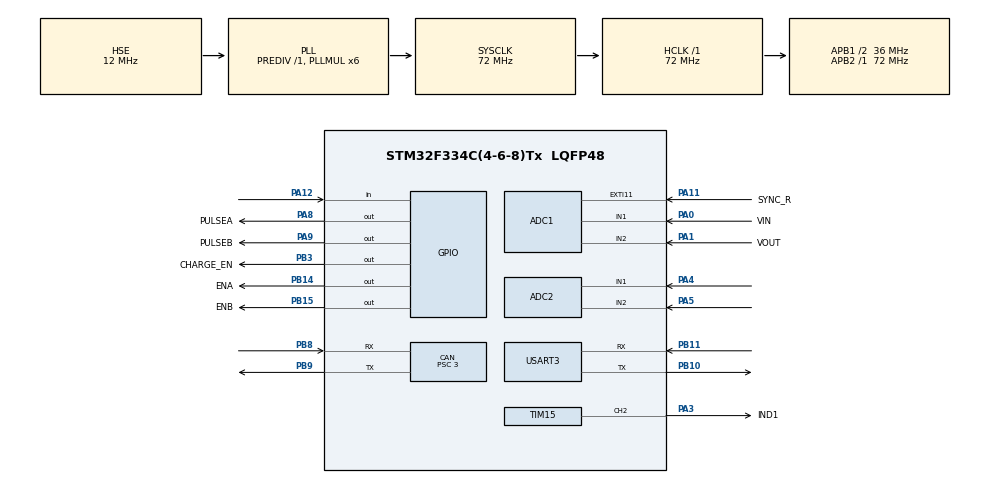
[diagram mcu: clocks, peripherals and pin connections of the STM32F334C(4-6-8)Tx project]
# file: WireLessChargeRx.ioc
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ADC1.AWD1ITMode=ENABLE
ADC1.Channel-7\#ChannelRegularConversion=ADC_CHANNEL_1
ADC1.Channel-8\#ChannelRegularConversion=ADC_CHANNEL_2
ADC1.ClockPrescaler=ADC_CLOCK_ASYNC_DIV1
ADC1.ContinuousConvMode=DISABLE
ADC1.DMAContinuousRequests=ENABLE
ADC1.DiscontinuousConvMode=DISABLE
ADC1.EnableAnalogWatchDog1=true
ADC1.EnableInjectedConversion=DISABLE
ADC1.EnableRegularConversion=ENABLE
ADC1.ExternalTrigConvEdge=ADC_EXTERNALTRIGCONVEDGE_FALLING
ADC1.NbrOfConversion=2
ADC1.NbrOfConversionFlag=1
ADC1.Offset-7\#ChannelRegularConversion=0
ADC1.Offset-8\#ChannelRegularConversion=0
ADC1.OffsetNumber-7\#ChannelRegularConversion=ADC_OFFSET_NONE
ADC1.OffsetNumber-8\#ChannelRegularConversion=ADC_OFFSET_NONE
ADC1.Rank-7\#ChannelRegularConversion=1
ADC1.Rank-8\#ChannelRegularConversion=2
ADC1.SamplingTime-7\#ChannelRegularConversion=ADC_SAMPLETIME_61CYCLES_5
ADC1.SamplingTime-8\#ChannelRegularConversion=ADC_SAMPLETIME_61CYCLES_5
ADC1.SamplingTimeOPAMP-7\#ChannelRegularConversion=ADC_SAMPLETIME_1CYCLE_5
ADC1.SamplingTimeOPAMP-8\#ChannelRegularConversion=ADC_SAMPLETIME_1CYCLE_5
ADC1.SequencerNbRanks=1
ADC1.SubFamily=STM32F334x8
ADC1.master=1
ADC2.AWD1ITMode=ENABLE
ADC2.Channel-0\#ChannelRegularConversion=ADC_CHANNEL_1
ADC2.ContinuousConvMode=DISABLE
ADC2.DMAContinuousRequests=ENABLE
ADC2.EnableAnalogWatchDog1=true
ADC2.ExternalTrigConvEdge=ADC_EXTERNALTRIGCONVEDGE_RISING
ADC2.NbrOfConversionFlag=1
ADC2.Offset-0\#ChannelRegularConversion=0
ADC2.OffsetNumber-0\#ChannelRegularConversion=ADC_OFFSET_NONE
ADC2.Rank-0\#ChannelRegularConversion=1
ADC2.SamplingTime-0\#ChannelRegularConversion=ADC_SAMPLETIME_61CYCLES_5
ADC2.SingleDiff-0\#ChannelRegularConversion=ADC_DIFFERENTIAL_ENDED
ADC2.SubFamily=STM32F334x8
CAN.ABOM=ENABLE
CAN.BS1=CAN_BS1_9TQ
CAN.BS2=CAN_BS2_2TQ
CAN.CalculateBaudRate=999999
CAN.CalculateTimeBit=1000
CAN.CalculateTimeQuantum=83.33333333333334
CAN.NART=ENABLE
CAN.Prescaler=3
CAN.TXFP=ENABLE
Dma.ADC1.0.Direction=DMA_PERIPH_TO_MEMORY
Dma.ADC1.0.Instance=DMA1_Channel1
Dma.ADC1.0.MemDataAlignment=DMA_MDATAALIGN_HALFWORD
Dma.ADC1.0.MemInc=DMA_MINC_ENABLE
Dma.ADC1.0.Mode=DMA_CIRCULAR
Dma.ADC1.0.PeriphDataAlignment=DMA_PDATAALIGN_HALFWORD
Dma.ADC1.0.PeriphInc=DMA_PINC_DISABLE
Dma.ADC1.0.Priority=DMA_PRIORITY_LOW
Dma.ADC2.1.Direction=DMA_PERIPH_TO_MEMORY
Dma.ADC2.1.Instance=DMA1_Channel4
Dma.ADC2.1.MemDataAlignment=DMA_MDATAALIGN_HALFWORD
Dma.ADC2.1.MemInc=DMA_MINC_ENABLE
Dma.ADC2.1.Mode=DMA_CIRCULAR
Dma.ADC2.1.PeriphDataAlignment=DMA_PDATAALIGN_HALFWORD
Dma.ADC2.1.PeriphInc=DMA_PINC_DISABLE
Dma.ADC2.1.Priority=DMA_PRIORITY_LOW
Dma.Request0=ADC1
Dma.Request1=ADC2
Dma.Request2=USART3_TX
Dma.Request3=USART3_RX
Dma.USART3_RX.3.Direction=DMA_PERIPH_TO_MEMORY
Dma.USART3_RX.3.Instance=DMA1_Channel3
Dma.USART3_RX.3.MemDataAlignment=DMA_MDATAALIGN_BYTE
Dma.USART3_RX.3.MemInc=DMA_MINC_ENABLE
Dma.USART3_RX.3.Mode=DMA_NORMAL
Dma.USART3_RX.3.PeriphDataAlignment=DMA_PDATAALIGN_BYTE
Dma.USART3_RX.3.PeriphInc=DMA_PINC_DISABLE
Dma.USART3_RX.3.Priority=DMA_PRIORITY_LOW
Dma.USART3_TX.2.Direction=DMA_MEMORY_TO_PERIPH
Dma.USART3_TX.2.Instance=DMA1_Channel2
Dma.USART3_TX.2.MemDataAlignment=DMA_MDATAALIGN_BYTE
Dma.USART3_TX.2.MemInc=DMA_MINC_ENABLE
Dma.USART3_TX.2.Mode=DMA_NORMAL
Dma.USART3_TX.2.PeriphDataAlignment=DMA_PDATAALIGN_BYTE
Dma.USART3_TX.2.PeriphInc=DMA_PINC_DISABLE
Dma.USART3_TX.2.Priority=DMA_PRIORITY_LOW
Mcu.Family=STM32F3
Mcu.Name=STM32F334C(4-6-8)Tx
Mcu.Package=LQFP48
NVIC.ADC1_2_IRQn=true\:1\:0\:true\:false\:true\:true\:true\:true
NVIC.CAN_RX0_IRQn=true\:0\:0\:false\:false\:true\:true\:true\:true
NVIC.CAN_TX_IRQn=true\:0\:0\:false\:false\:true\:true\:true\:true
NVIC.DMA1_Channel1_IRQn=true\:0\:0\:false\:false\:true\:false\:true\:true
NVIC.DMA1_Channel2_IRQn=true\:0\:0\:false\:false\:true\:false\:true\:true
NVIC.DMA1_Channel3_IRQn=true\:0\:0\:false\:false\:true\:false\:true\:true
NVIC.DMA1_Channel4_IRQn=true\:0\:0\:false\:false\:true\:false\:true\:true
NVIC.PriorityGroup=NVIC_PRIORITYGROUP_4
NVIC.TIM1_TRG_COM_TIM17_IRQn=true\:3\:0\:true\:false\:true\:true\:true\:true
NVIC.TIM3_IRQn=true\:0\:0\:false\:false\:true\:true\:true\:true
NVIC.USART3_IRQn=true\:2\:0\:true\:false\:true\:true\:true\:true
PA0.GPIO_Label=VIN
PA0.Mode=IN1-Single-Ended
PA0.Signal=ADC1_IN1
PA1.GPIO_Label=VOUT
PA1.Mode=IN2-Single-Ended
PA1.Signal=ADC1_IN2
PA11.GPIO_Label=SYNC_R
PA11.Signal=GPXTI11
PA12.Signal=GPIO_Input
PA13.Mode=Serial_Wire
PA13.Signal=SYS_JTMS-SWDIO
PA14.Mode=Serial_Wire
PA14.Signal=SYS_JTCK-SWCLK
PA3.GPIO_Label=IND1
PA3.Signal=S_TIM15_CH2
PA4.Mode=IN1-Differential
PA4.Signal=ADC2_IN1
PA5.Mode=IN1-Differential
PA5.Signal=ADC2_IN2
PA8.GPIO_Label=PULSEA
PA8.GPIO_PuPd=GPIO_PULLUP
PA8.PinState=GPIO_PIN_SET
PA8.Signal=GPIO_Output
PA9.GPIO_Label=PULSEB
PA9.GPIO_PuPd=GPIO_PULLUP
PA9.PinState=GPIO_PIN_SET
PA9.Signal=GPIO_Output
PB10.Mode=Asynchronous
PB10.Signal=USART3_TX
PB11.Mode=Asynchronous
PB11.Signal=USART3_RX
PB14.GPIO_Label=ENA
PB14.Signal=GPIO_Output
PB15.GPIO_Label=ENB
PB15.Signal=GPIO_Output
PB3.GPIO_Label=CHARGE_EN
PB3.Signal=GPIO_Output
PB8.Mode=CAN_Activate
PB8.Signal=CAN_RX
PB9.Mode=CAN_Activate
PB9.Signal=CAN_TX
PF0\ /\ OSC_IN.Mode=HSE-External-Oscillator
PF0\ /\ OSC_IN.Signal=RCC_OSC_IN
PF1\ /\ OSC_OUT.Mode=HSE-External-Oscillator
PF1\ /\ OSC_OUT.Signal=RCC_OSC_OUT
ProjectManager.HeapSize=0x200
ProjectManager.StackSize=0x400
ProjectManager.TargetToolchain=MDK-ARM V5.32
RCC.ADC12PRES=RCC_ADC12PLLCLK_DIV64
RCC.AHBFreq_Value=72000000
RCC.APB1CLKDivider=RCC_HCLK_DIV2
RCC.APB1Freq_Value=36000000
RCC.APB1TimFreq_Value=72000000
RCC.APB2Freq_Value=72000000
RCC.APB2TimFreq_Value=72000000
RCC.CortexFreq_Value=72000000
RCC.HCLKFreq_Value=72000000
RCC.HSE_VALUE=12000000
RCC.HSI_VALUE=8000000
RCC.LSE_VALUE=32768
RCC.PLLMUL=RCC_PLL_MUL6
RCC.PLLSourceVirtual=RCC_PLLSOURCE_HSE
RCC.SYSCLKFreq_VALUE=72000000
RCC.SYSCLKSourceVirtual=RCC_SYSCLKSOURCE_PLLCLK
SH.S_TIM15_CH2.0=TIM15_CH2,PWM Generation2 CH2
TIM15.AutoReloadPreload=TIM_AUTORELOAD_PRELOAD_ENABLE
TIM15.Channel-PWM\ Generation2\ CH2=TIM_CHANNEL_2
TIM15.ClockDivision=TIM_CLOCKDIVISION_DIV1
TIM15.Period=500-1
TIM15.Prescaler=360-1
TIM17.AutoReloadPreload=TIM_AUTORELOAD_PRELOAD_ENABLE
TIM17.Channel=TIM_CHANNEL_1
TIM17.Period=1000-1
TIM17.Prescaler=144-1
TIM3.AutoReloadPreload=TIM_AUTORELOAD_PRELOAD_ENABLE
TIM3.Period=100-1
TIM3.Prescaler=72-1
USART3.VirtualMode-Asynchronous=VM_ASYNC
VP_TIM15_VS_ClockSourceINT.Mode=Internal
VP_TIM17_VS_ClockSourceINT.Mode=Enable_Timer
VP_TIM17_VS_no_output1.Mode=Output Compare1 No Output
VP_TIM3_VS_ClockSourceINT.Mode=Internal
board=custom

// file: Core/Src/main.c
/* USER CODE BEGIN Header */
/**
  ******************************************************************************
  * @file           : main.c
  * @brief          : Main program body
  ******************************************************************************
  * @attention
  *
  * Copyright (c) 2025 STMicroelectronics.
  * All rights reserved.
  *
  * This software is licensed under terms that can be found in the LICENSE file
  * in the root directory of this software component.
  * If no LICENSE file comes with this software, it is provided AS-IS.
  *
  ******************************************************************************
  */
/* USER CODE END Header */
#include "main.h"
#include "adc.h"
#include "can.h"
#include "dma.h"
#include "tim.h"
#include "usart.h"
#include "gpio.h"

/* USER CODE BEGIN Includes */
#include "wirelessrx.h"
#include "board_id.h"
#include "detect_task.h"
#include "bsp_adc.h"
#include "bsp_can.h"
#include "bsp_dwt.h"
#include "bsp_usart.h"
/* USER CODE END Includes */

/* USER CODE BEGIN PV */
int8_t IDCard = -2;

/* USER CODE END PV */

void SystemClock_Config(void);

int main(void)
{

  /* MCU Configuration--------------------------------------------------------*/

  /* Reset of all peripherals, Initializes the Flash interface and the Systick. */
  HAL_Init();

  /* Configure the system clock */
  SystemClock_Config();

  /* Initialize all configured peripherals */
  MX_GPIO_Init();
  MX_DMA_Init();
  MX_ADC1_Init();
  MX_TIM3_Init();
  MX_ADC2_Init();
  MX_USART3_UART_Init();
  MX_TIM17_Init();
  MX_CAN_Init();
  MX_TIM15_Init();
  /* USER CODE BEGIN 2 */

  IDCard = BoardID_Detect();
  if(!BoardID_IsValid(IDCard))
  {
    return 0;
  }

  DWT_Init(72);
  Detect_Init();
  Bsp_CAN_Init();
  Bsp_USART_Init();
  Bsp_ADC_Init();
  WirelessInit();
  HAL_TIM_Base_Start_IT(&htim3);
  HAL_TIM_PWM_Start(&htim15,TIM_CHANNEL_2);
  HAL_TIM_Base_Start_IT(&htim17);
  /* USER CODE END 2 */

  /* Infinite loop */
  while (1)
  {

  }
}

void SystemClock_Config(void)
{
  RCC_OscInitTypeDef RCC_OscInitStruct = {0};
  RCC_ClkInitTypeDef RCC_ClkInitStruct = {0};
  RCC_PeriphCLKInitTypeDef PeriphClkInit = {0};

  /** Initializes the RCC Oscillators according to the specified parameters
  * in the RCC_OscInitTypeDef structure.
  */
  RCC_OscInitStruct.OscillatorType = RCC_OSCILLATORTYPE_HSE;
  RCC_OscInitStruct.HSEState = RCC_HSE_ON;
  RCC_OscInitStruct.HSEPredivValue = RCC_HSE_PREDIV_DIV1;
  RCC_OscInitStruct.HSIState = RCC_HSI_ON;
  RCC_OscInitStruct.PLL.PLLState = RCC_PLL_ON;
  RCC_OscInitStruct.PLL.PLLSource = RCC_PLLSOURCE_HSE;
  RCC_OscInitStruct.PLL.PLLMUL = RCC_PLL_MUL6;
  if (HAL_RCC_OscConfig(&RCC_OscInitStruct) != HAL_OK)
  {
    Error_Handler();
  }

  /** Initializes the CPU, AHB and APB buses clocks
  */
  RCC_ClkInitStruct.ClockType = RCC_CLOCKTYPE_HCLK|RCC_CLOCKTYPE_SYSCLK
                              |RCC_CLOCKTYPE_PCLK1|RCC_CLOCKTYPE_PCLK2;
  RCC_ClkInitStruct.SYSCLKSource = RCC_SYSCLKSOURCE_PLLCLK;
  RCC_ClkInitStruct.AHBCLKDivider = RCC_SYSCLK_DIV1;
  RCC_ClkInitStruct.APB1CLKDivider = RCC_HCLK_DIV2;
  RCC_ClkInitStruct.APB2CLKDivider = RCC_HCLK_DIV1;

  if (HAL_RCC_ClockConfig(&RCC_ClkInitStruct, FLASH_LATENCY_2) != HAL_OK)
  {
    Error_Handler();
  }
  PeriphClkInit.PeriphClockSelection = RCC_PERIPHCLK_ADC12;
  PeriphClkInit.Adc12ClockSelection = RCC_ADC12PLLCLK_DIV64;
  if (HAL_RCCEx_PeriphCLKConfig(&PeriphClkInit) != HAL_OK)
  {
    Error_Handler();
  }
}

/* USER CODE BEGIN 4 */
void HAL_TIM_PeriodElapsedCallback(TIM_HandleTypeDef *htim)
{
  if(htim->Instance == TIM3)
  {
    // 10kHz
    static uint32_t count_tim3 = 0;
    count_tim3++;
    Detect_Task();
    Transmit_Task();
    if(count_tim3 >= 1000)
    {
      count_tim3 = 0;
      Send_Bigcup_Data();
    }
  }
  else if(htim->Instance == TIM17)
  {
    // 1000Hz
    DMA1_Channel2->CCR |= DMA_CCR_EN;
    USART3->CR1 |= USART_CR1_TE;
  }
}
/* USER CODE END 4 */

void Error_Handler(void)
{
  __disable_irq();
  while (1)
  {
  }
}
